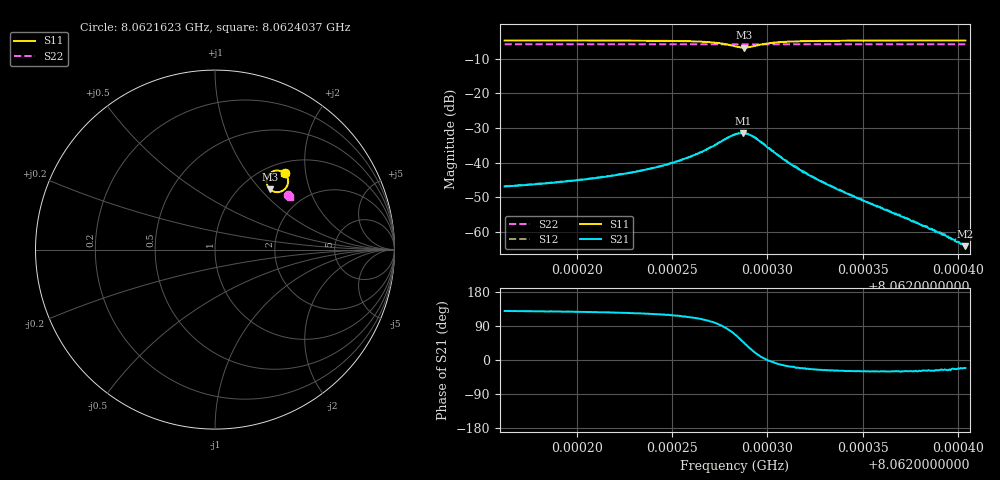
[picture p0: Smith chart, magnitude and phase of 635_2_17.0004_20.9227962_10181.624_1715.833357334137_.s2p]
#  HZ  S  RI  R  50.00
! Rohde & Schwarz Vector Network Analyzer
! Rohde-Schwarz,ZNB20-2Port,1311601062101988,3.16
! Created: UTC 3/20/2024, 11:20:36 PM
! freq[Hz]  re:S11  im:S11  re:S21  im:S21  re:S12  im:S12  re:S22  im:S22
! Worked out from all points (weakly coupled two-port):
!   401 points, 8.0621623 GHz to 8.0624037 GHz, reference 50 ohm
!   highest |S21| = -31.48 dB at 8.0622872 GHz (marker M1); lowest = -64.1 dB at 8.0624037 GHz (marker M2)
!   lowest |S11| = -6.8 dB at 8.0622878 GHz (marker M3), VSWR 2.67, Z = 66.5 + j56.5 ohm
!   |S11| at or under -10 dB: nowhere
!   |S22| runs from -6.0 to -5.9 dB; largest |S21 - S12| = 0.0015
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8.0621623e9  0.3888 0.4247  -0.00288 0.0035  -0.00264 0.00371  0.4083 0.3025
8.06220273e9  0.3945 0.4183  -0.0034 0.00452  -0.00317 0.00476  0.41 0.3003
8.06222868e9  0.3994 0.4107  -0.00401 0.00596  -0.00367 0.00623  0.411 0.2987
8.06224317e9  0.4032 0.4031  -0.00443 0.00751  -0.00403 0.00787  0.4114 0.2977
8.06225403e9  0.4061 0.3934  -0.00473 0.00965  -0.00415 0.00988  0.4119 0.2966
8.06226248e9  0.4075 0.3808  -0.00466 0.0124  -0.00383 0.0127  0.4121 0.2956
8.0622667e9  0.407 0.3714  -0.00413 0.0142  -0.00335 0.0145  0.412 0.295
8.06227515e9  0.3955 0.344  -0.000662 0.0197  0.000178 0.0199  0.4115 0.2936
8.062283e9  0.349 0.32  0.00984 0.0235  0.0111 0.0231  0.4092 0.2929
8.06228722e9  0.3102 0.3328  0.018 0.0197  0.0191 0.0191  0.4079 0.2936
8.06228783e9  0.3053 0.337  0.0187 0.0187  0.0199 0.0179  0.408 0.2938
8.06229024e9  0.2917 0.3571  0.0213 0.0139  0.0221 0.0132  0.4077 0.2948
8.06229326e9  0.2871 0.3841  0.0217 0.00805  0.0222 0.0069  0.4079 0.296
8.0623011e9  0.309 0.427  0.0158 -0.000632  0.0159 -0.0016  0.4097 0.2972
8.06231197e9  0.3388 0.4399  0.00918 -0.00291  0.00915 -0.00335  0.4114 0.2968
8.06232343e9  0.3554 0.4401  0.00567 -0.00255  0.00561 -0.00298  0.4127 0.2959
8.06234093e9  0.3682 0.4368  0.00319 -0.00177  0.00316 -0.002  0.4137 0.2948
8.06236387e9  0.3767 0.4332  0.0017 -0.000988  0.00168 -0.00113  0.4148 0.2934
8.06238982e9  0.3822 0.4299  0.000882 -0.000448  0.000837 -0.000516  0.4158 0.2919
8.06239163e9  0.3825 0.4296  0.00082 -0.000402  0.000814 -0.00049  0.4158 0.292
8.06240189e9  0.3841 0.4285  0.000632 -0.000256  0.000591 -0.000321  0.4162 0.2912
8.0624037e9  0.3843 0.4283  0.000583 -0.000227  0.000595 -0.00028  0.4162 0.2912
